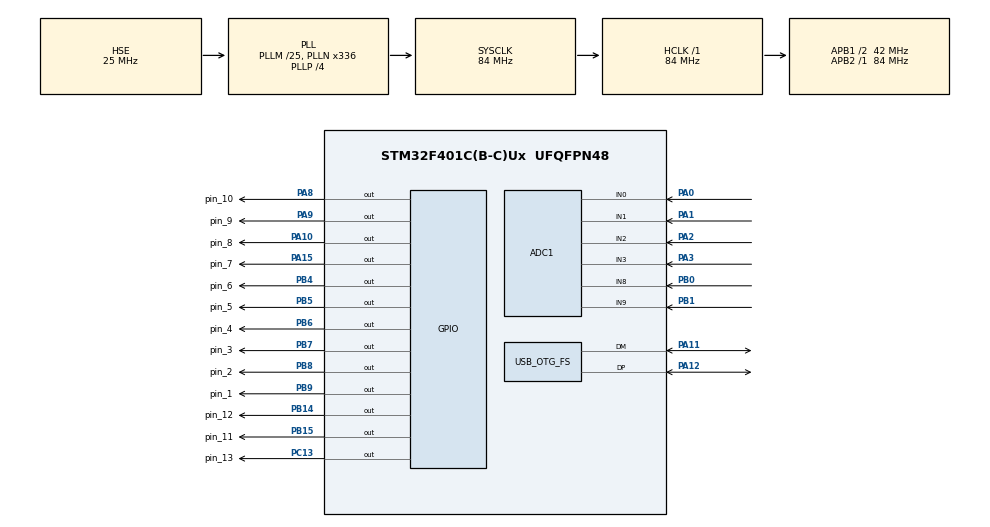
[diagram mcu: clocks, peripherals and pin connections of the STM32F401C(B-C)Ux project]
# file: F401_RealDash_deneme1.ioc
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ADC1.Channel-0\#ChannelRegularConversion=ADC_CHANNEL_0
ADC1.Channel-1\#ChannelRegularConversion=ADC_CHANNEL_1
ADC1.Channel-2\#ChannelRegularConversion=ADC_CHANNEL_2
ADC1.Channel-3\#ChannelRegularConversion=ADC_CHANNEL_3
ADC1.Channel-4\#ChannelRegularConversion=ADC_CHANNEL_8
ADC1.Channel-5\#ChannelRegularConversion=ADC_CHANNEL_9
ADC1.ContinuousConvMode=ENABLE
ADC1.NbrOfConversion=6
ADC1.NbrOfConversionFlag=1
ADC1.Rank-0\#ChannelRegularConversion=1
ADC1.Rank-1\#ChannelRegularConversion=2
ADC1.Rank-2\#ChannelRegularConversion=3
ADC1.Rank-3\#ChannelRegularConversion=4
ADC1.Rank-4\#ChannelRegularConversion=5
ADC1.Rank-5\#ChannelRegularConversion=6
ADC1.SamplingTime-0\#ChannelRegularConversion=ADC_SAMPLETIME_56CYCLES
ADC1.SamplingTime-1\#ChannelRegularConversion=ADC_SAMPLETIME_56CYCLES
ADC1.SamplingTime-2\#ChannelRegularConversion=ADC_SAMPLETIME_56CYCLES
ADC1.SamplingTime-3\#ChannelRegularConversion=ADC_SAMPLETIME_56CYCLES
ADC1.SamplingTime-4\#ChannelRegularConversion=ADC_SAMPLETIME_56CYCLES
ADC1.SamplingTime-5\#ChannelRegularConversion=ADC_SAMPLETIME_56CYCLES
ADC1.ScanConvMode=ENABLE
ADC1.master=1
Mcu.Family=STM32F4
Mcu.Name=STM32F401C(B-C)Ux
Mcu.Package=UFQFPN48
NVIC.OTG_FS_IRQn=true\:0\:0\:false\:false\:true\:false\:true
NVIC.PriorityGroup=NVIC_PRIORITYGROUP_4
PA0-WKUP.Signal=ADCx_IN0
PA1.Signal=ADCx_IN1
PA10.GPIO_Label=pin_8
PA10.GPIO_PuPd=GPIO_PULLDOWN
PA10.Signal=GPIO_Output
PA11.Mode=Device_Only
PA11.Signal=USB_OTG_FS_DM
PA12.Mode=Device_Only
PA12.Signal=USB_OTG_FS_DP
PA13.Mode=Serial_Wire
PA13.Signal=SYS_JTMS-SWDIO
PA14.Mode=Serial_Wire
PA14.Signal=SYS_JTCK-SWCLK
PA15.GPIO_Label=pin_7
PA15.Signal=GPIO_Output
PA2.Signal=ADCx_IN2
PA3.Signal=ADCx_IN3
PA8.GPIO_Label=pin_10
PA8.GPIO_PuPd=GPIO_PULLDOWN
PA8.Signal=GPIO_Output
PA9.GPIO_Label=pin_9
PA9.GPIO_PuPd=GPIO_PULLDOWN
PA9.Signal=GPIO_Output
PB0.Signal=ADCx_IN8
PB1.Signal=ADCx_IN9
PB14.GPIO_Label=pin_12
PB14.GPIO_PuPd=GPIO_PULLDOWN
PB14.Signal=GPIO_Output
PB15.GPIO_Label=pin_11
PB15.GPIO_PuPd=GPIO_PULLDOWN
PB15.Signal=GPIO_Output
PB4.GPIO_Label=pin_6
PB4.GPIO_PuPd=GPIO_PULLDOWN
PB4.Signal=GPIO_Output
PB5.GPIO_Label=pin_5
PB5.GPIO_PuPd=GPIO_PULLDOWN
PB5.Signal=GPIO_Output
PB6.GPIO_Label=pin_4
PB6.GPIO_PuPd=GPIO_PULLDOWN
PB6.Signal=GPIO_Output
PB7.GPIO_Label=pin_3
PB7.GPIO_PuPd=GPIO_PULLDOWN
PB7.Signal=GPIO_Output
PB8.GPIO_Label=pin_2
PB8.GPIO_PuPd=GPIO_PULLDOWN
PB8.Signal=GPIO_Output
PB9.GPIO_Label=pin_1
PB9.GPIO_PuPd=GPIO_PULLDOWN
PB9.Signal=GPIO_Output
PC13-ANTI_TAMP.GPIO_Label=pin_13
PC13-ANTI_TAMP.GPIO_PuPd=GPIO_PULLUP
PC13-ANTI_TAMP.PinState=GPIO_PIN_SET
PC13-ANTI_TAMP.Signal=GPIO_Output
PH0\ -\ OSC_IN.Mode=HSE-External-Oscillator
PH0\ -\ OSC_IN.Signal=RCC_OSC_IN
PH1\ -\ OSC_OUT.Mode=HSE-External-Oscillator
PH1\ -\ OSC_OUT.Signal=RCC_OSC_OUT
ProjectManager.HeapSize=0x200
ProjectManager.StackSize=0x400
ProjectManager.TargetToolchain=STM32CubeIDE
RCC.48MHZClocksFreq_Value=48000000
RCC.AHBFreq_Value=84000000
RCC.APB1CLKDivider=RCC_HCLK_DIV2
RCC.APB1Freq_Value=42000000
RCC.APB1TimFreq_Value=84000000
RCC.APB2Freq_Value=84000000
RCC.APB2TimFreq_Value=84000000
RCC.CortexFreq_Value=84000000
RCC.HCLKFreq_Value=84000000
RCC.HSE_VALUE=25000000
RCC.HSI_VALUE=16000000
RCC.LSE_VALUE=32768
RCC.PLLM=25
RCC.PLLN=336
RCC.PLLP=RCC_PLLP_DIV4
RCC.PLLQ=7
RCC.SYSCLKFreq_VALUE=84000000
RCC.SYSCLKSource=RCC_SYSCLKSOURCE_PLLCLK
RCC.VCOOutputFreq_Value=336000000
SH.ADCx_IN0.0=ADC1_IN0,IN0
SH.ADCx_IN1.0=ADC1_IN1,IN1
SH.ADCx_IN2.0=ADC1_IN2,IN2
SH.ADCx_IN3.0=ADC1_IN3,IN3
SH.ADCx_IN8.0=ADC1_IN8,IN8
SH.ADCx_IN9.0=ADC1_IN9,IN9
USB_DEVICE.CLASS_NAME_FS=CDC
USB_DEVICE.VirtualMode=Cdc
USB_DEVICE.VirtualModeFS=Cdc_FS
USB_OTG_FS.VirtualMode=Device_Only
VP_USB_DEVICE_VS_USB_DEVICE_CDC_FS.Mode=CDC_FS
board=custom

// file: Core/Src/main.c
/* USER CODE BEGIN Header */
/**
  ******************************************************************************
  * @file           : main.c
  * @brief          : Main program body
  ******************************************************************************
  * @attention
  *
  * <h2><center>&copy; Copyright (c) 2021 STMicroelectronics.
  * All rights reserved.</center></h2>
  *
  * This software component is licensed by ST under BSD 3-Clause license,
  * the "License"; You may not use this file except in compliance with the
  * License. You may obtain a copy of the License at:
  *                        opensource.org/licenses/BSD-3-Clause
  *
  ******************************************************************************
  */
/* USER CODE END Header */
#include "main.h"
#include "adc.h"
#include "usb_device.h"
#include "gpio.h"

/* USER CODE BEGIN Includes */
#include "usbd_cdc_if.h"
#include "string.h"
#include "math.h"
#include "stdio.h"
/* USER CODE END Includes */

/* USER CODE BEGIN PTD */
uint8_t buffer_usb[64];
uint8_t lenght;
/* USER CODE END PTD */

void SystemClock_Config(void);

/* USER CODE BEGIN 0 */
uint32_t digitalPins =0;
// analog pin values are stored in array of ints
uint32_t analogPins[7] = {0};

unsigned int rpm = 4;
unsigned int kpa = 992; // 99.2
unsigned int tps = 965; // 96.5
unsigned int clt = 80;  // 80 - 100
unsigned int textCounter = 0;

// incoming data
char incomingFrame[17] = { 0 };
unsigned int incomingFramePos = 0;

// if READWRITE_PINS is defined, the values are read from and written to Arduino
// digital and analog pins.
#define READWRITE_PINS

void ReadDigitalStatuses()
{
#if defined (READWRITE_PINS)
  // read status of digital pins (1-13)
  digitalPins = 0;

  int bitposition = 0;

    if (HAL_GPIO_ReadPin(pin_1_GPIO_Port,pin_1_Pin) == 1) digitalPins |= (1 << bitposition);
    bitposition++;
    if (HAL_GPIO_ReadPin(pin_2_GPIO_Port,pin_2_Pin) == 1) digitalPins |= (1 << bitposition);
    bitposition++;
    if (HAL_GPIO_ReadPin(pin_3_GPIO_Port,pin_3_Pin) == 1) digitalPins |= (1 << bitposition);
    bitposition++;
    if (HAL_GPIO_ReadPin(pin_4_GPIO_Port,pin_4_Pin) == 1) digitalPins |= (1 << bitposition);
    bitposition++;
    if (HAL_GPIO_ReadPin(pin_5_GPIO_Port,pin_5_Pin) == 1) digitalPins |= (1 << bitposition);
    bitposition++;
    if (HAL_GPIO_ReadPin(pin_6_GPIO_Port,pin_6_Pin) == 1) digitalPins |= (1 << bitposition);
    bitposition++;
    if (HAL_GPIO_ReadPin(pin_7_GPIO_Port,pin_7_Pin) == 1) digitalPins |= (1 << bitposition);
    bitposition++;
    if (HAL_GPIO_ReadPin(pin_8_GPIO_Port,pin_8_Pin) == 1) digitalPins |= (1 << bitposition);
    bitposition++;
    if (HAL_GPIO_ReadPin(pin_9_GPIO_Port,pin_9_Pin) == 1) digitalPins |= (1 << bitposition);
    bitposition++;
    if (HAL_GPIO_ReadPin(pin_10_GPIO_Port,pin_10_Pin) == 1) digitalPins |= (1 << bitposition);
    bitposition++;
    if (HAL_GPIO_ReadPin(pin_11_GPIO_Port,pin_11_Pin) == 1) digitalPins |= (1 << bitposition);
    bitposition++;
    if (HAL_GPIO_ReadPin(pin_12_GPIO_Port,pin_12_Pin) == 1) digitalPins |= (1 << bitposition);
    bitposition++;
 // if (HAL_GPIO_ReadPin(pin_13_GPIO_Port, pin_13_Pin) == 1) digitalPins |= (1 << bitposition); // no pull-up
    if (HAL_GPIO_ReadPin(pin_13_GPIO_Port, pin_13_Pin) == 0) digitalPins |= (1 << bitposition);  // pull-up
    bitposition++;

#endif
}

//

void ReadAnalogStatuses()
{
#if defined (READWRITE_PINS)
  // read analog pins (0-7)

   HAL_ADC_Start(&hadc1);
   HAL_ADC_PollForConversion(&hadc1, 50);
   analogPins[0] = HAL_ADC_GetValue(&hadc1);
   HAL_ADC_PollForConversion(&hadc1, 50);
   analogPins[1] = HAL_ADC_GetValue(&hadc1);
   HAL_ADC_PollForConversion(&hadc1, 50);
   analogPins[2] = HAL_ADC_GetValue(&hadc1);
   HAL_ADC_PollForConversion(&hadc1, 50);
   analogPins[3] = HAL_ADC_GetValue(&hadc1);
   HAL_ADC_PollForConversion(&hadc1, 50);
   analogPins[4] = HAL_ADC_GetValue(&hadc1);
   HAL_ADC_PollForConversion(&hadc1, 50);
   analogPins[5] = HAL_ADC_GetValue(&hadc1);
   HAL_ADC_Stop (&hadc1);

#endif
}

void SendCANFramesToSerial()
{

  // build & send CAN frames to RealDash.
  // a CAN frame payload is always 8 bytes containing data in a manner
  // described by the RealDash custom channel description XML file
  // all multibyte values are handled as little endian by default.
  // endianess of the values can be specified in XML file if it is required to use big endian values

 unsigned char frameData[8]={0};

  // build 1st CAN frame, RPM, MAP, CLT, TPS (just example data)
  memcpy(frameData, &rpm, 2);
  memcpy(frameData + 2, &kpa, 2);
  memcpy(frameData + 4, &clt, 2);
  memcpy(frameData + 6, &tps, 2);

  // write first CAN frame to serial
 SendCANFrameToSerial(3200, frameData);
 memset(frameData,'\0',8);

  // build 2nd CAN frame, Arduino digital pins and 2 analog values
  memcpy(frameData, &digitalPins, 2);
  memcpy(frameData + 2, &analogPins[0], 2);
  memcpy(frameData + 4, &analogPins[1], 2);
  memcpy(frameData + 6, &analogPins[2], 2);

  // write 2nd CAN frame to serial
  SendCANFrameToSerial(3201, frameData);
  memset(frameData,'\0',8);

  // build 3rd CAN frame, rest of Arduino analog values
  memcpy(frameData, &analogPins[3], 2);
  memcpy(frameData + 2, &analogPins[4], 2);
  memcpy(frameData + 4, &analogPins[5], 2);
  memcpy(frameData + 6, &analogPins[6], 2);

  // write 3rd CAN frame to serial
  SendCANFrameToSerial(3202, frameData);
  memset(frameData,'\0',8);

  // build 4th frame, this is a text extension frame

  // only send once at 1000 loops
  if (textCounter == 0)
  {
    SendTextExtensionFrameToSerial(3203, "Hello RealDash, this is STM32 sending some text data");
  }
  else if (textCounter == 2000)
  {
    SendTextExtensionFrameToSerial(3203, "Tomorrow's forecast: Lots of sun and 30 degrees centigate");
  }
  else if (textCounter == 4000)
  {
    SendTextExtensionFrameToSerial(3203, "Now Playing: Insert your favorite song info here");
  }
  else if (textCounter == 6000)
  {
    SendTextExtensionFrameToSerial(3203, "Message from STM32: All systems running at nominal efficiency");
  }
  memset(frameData,'\0',8);

}

void SendCANFrameToSerial(unsigned long canFrameId, unsigned char* frameData)
{
  // the 4 byte identifier at the beginning of each CAN frame
  // this is required for RealDash to 'catch-up' on ongoing stream of CAN frames
  unsigned char serialBlockTag[4] = { 0x44, 0x33, 0x22, 0x11 };

  while( CDC_Transmit_FS((uint8_t*)serialBlockTag,4));

  // the CAN frame id number (as 32bit little endian value)

  while(CDC_Transmit_FS((uint8_t*)&canFrameId,4));

  // CAN frame payload

 while( CDC_Transmit_FS((uint8_t*)frameData,8));

}

void SendTextExtensionFrameToSerial(unsigned long canFrameId,  char* text)
{
  if (text)
  {
    // the 4 byte identifier at the beginning of each CAN frame
    // this is required for RealDash to 'catch-up' on ongoing stream of CAN frames
    unsigned char textExtensionBlockTag[4] = { 0x55, 0x33, 0x22, 0x11 };
    while(CDC_Transmit_FS((uint8_t*)textExtensionBlockTag,4));

    // the CAN frame id number (as 32bit little endian value)
    while(CDC_Transmit_FS((uint8_t*)&canFrameId,4));

    // text payload
    while(CDC_Transmit_FS((uint8_t*)text,strlen(text)+15));

  }
}

void ReadIncomingSerialData()
{
  while (lenght > 0)
  {
    /*
      little bit of extra effort here, since especially Bluetooth connections
     may leave unsent/received data in internal buffer for a long time
     therefore, we cannot be sure that incoming byte stream really starts at
     where we expect it to start.

     read one byte from serial stream

	*/

	  memcpy(incomingFrame,buffer_usb,17);
	  int incomingFramePos=17;

    // check the first incoming bytes tag (0x44, 0x33, 0x22, 0x11)
    if (incomingFrame[0] != 0x44)
    {
      // first incoming byte is not 0x44,
      // the tag at the beginning of the frame does not match, this is an invalid frame
      // just zero the incomingFrame buffer and start expecting first byte again
      memset(incomingFrame, 0, 17);
      incomingFramePos = 0;
    }

    if (incomingFramePos >= 17)
    {
      // frame complete, process it
      ProcessIncomingFrame(incomingFrame);

      // zero the incomingFrame buffer and start expecting first byte again
      memset(incomingFrame, 0, 17);
      incomingFramePos = 0;
      memset(buffer_usb,'\0',64);
      lenght=0;
    }
  }
}

void ProcessIncomingFrame( char* frame)
{
  // first four bytes contain set value frame separator bytes, always 0x44,0x33,0x22,x11
  // check that first 4 bytes match the tag
  if (frame[0] != 0x44 ||
      frame[1] != 0x33 ||
      frame[2] != 0x22 ||
      frame[3] != 0x11)
  {
    // frame tag does not match, wait for another frame
    return;
  }

  // next four bytes contain set value CAN frame id in little endian form
  unsigned long canFrameId = 0;
  memcpy(&canFrameId, frame + 4, 4);

  // next 8 bytes are the frame data
  // ...

  // last byte is check byte calculated as sum of previous 13 bytes (ignore overflow)
  char checkByte = 0;
  for (int i=0; i<16; i++)
  {
    checkByte += frame[i];
  }

  if (frame[16] == checkByte)
  {
    // checksum match, this is a valid set value-frame:
    // the frame payload data is in frame + 8 bytes
    HandleIncomingSetValueFrame(canFrameId, frame + 8);
  }
}

void HandleIncomingSetValueFrame(unsigned long canFrameId,  char* frameData)
{
  if (canFrameId == 3201)
  {
    memcpy(&digitalPins, frameData, 2);
    memcpy(&analogPins[0], frameData + 2, 2);
    memcpy(&analogPins[1], frameData + 4, 2);
    memcpy(&analogPins[2], frameData + 6, 2);

#if defined (READWRITE_PINS)
    // write digital pins

    HAL_GPIO_WritePin(pin_1_GPIO_Port,pin_1_Pin,digitalPins & (1 << 0) ? 1 : 0);
    HAL_GPIO_WritePin(pin_2_GPIO_Port,pin_2_Pin,digitalPins & (1 << 1) ? 1 : 0);
    HAL_GPIO_WritePin(pin_3_GPIO_Port,pin_3_Pin,digitalPins & (1 << 2) ? 1 : 0);
    HAL_GPIO_WritePin(pin_4_GPIO_Port,pin_4_Pin,digitalPins & (1 << 3) ? 1 : 0);
    HAL_GPIO_WritePin(pin_5_GPIO_Port,pin_5_Pin,digitalPins & (1 << 4) ? 1 : 0);
    HAL_GPIO_WritePin(pin_6_GPIO_Port,pin_6_Pin,digitalPins & (1 << 5) ? 1 : 0);
    HAL_GPIO_WritePin(pin_7_GPIO_Port,pin_7_Pin,digitalPins & (1 << 6) ? 1 : 0);
    HAL_GPIO_WritePin(pin_8_GPIO_Port,pin_8_Pin,digitalPins & (1 << 7) ? 1 : 0);
    HAL_GPIO_WritePin(pin_9_GPIO_Port,pin_9_Pin,digitalPins & (1 << 8) ? 1 : 0);
    HAL_GPIO_WritePin(pin_10_GPIO_Port,pin_10_Pin,digitalPins & (1 << 9) ? 1 : 0);
    HAL_GPIO_WritePin(pin_11_GPIO_Port,pin_11_Pin,digitalPins & (1 << 10) ? 1 : 0);
    HAL_GPIO_WritePin(pin_12_GPIO_Port,pin_12_Pin,digitalPins & (1 << 11) ? 1 : 0);
 //   HAL_GPIO_WritePin(pin_13_GPIO_Port,pin_13_Pin,digitalPins & (1 << 12) ? 1 : 0);
    HAL_GPIO_WritePin(pin_13_GPIO_Port,pin_13_Pin,digitalPins & (1 << 12) ? 0 : 1); // pull-up led PC13 , also CubeMx GPIO config set to be Pull-Up

  /*  analogWrite(0, analogPins[0]);
    analogWrite(1, analogPins[1]);
    analogWrite(2, analogPins[2]);
    */
#endif
  }
  else if (canFrameId == 3202)
  {
    memcpy(&analogPins[3], frameData + 0, 2);
    memcpy(&analogPins[4], frameData + 2, 2);
    memcpy(&analogPins[5], frameData + 4, 2);
    memcpy(&analogPins[6], frameData + 6, 2);

#if defined (READWRITE_PINS)
   /* analogWrite(3, analogPins[3]);
    analogWrite(4, analogPins[4]);
    analogWrite(5, analogPins[5]);
    analogWrite(6, analogPins[6]);
    */
#endif
  }
}

/* USER CODE END 0 */

int main(void)
{

  /* MCU Configuration--------------------------------------------------------*/

  /* Reset of all peripherals, Initializes the Flash interface and the Systick. */
  HAL_Init();

  /* Configure the system clock */
  SystemClock_Config();

  /* Initialize all configured peripherals */
  MX_GPIO_Init();
  MX_USB_DEVICE_Init();
  MX_ADC1_Init();

  /* Infinite loop */
  while (1)
  {

    /* USER CODE BEGIN 3 */

	  ReadDigitalStatuses();
	  ReadAnalogStatuses();
	  SendCANFramesToSerial();
	 // ReadIncomingSerialData(); // move to usbd_cdc_if.c/CDC_Receive_FS

	  if (rpm++ > 5000)
	   {
	     rpm = 700;
	   }
	   if (kpa++ > 2500)
	   {
	     kpa = 10;
	   }
	   if (tps++ > 1000)
	   {
	     tps = 0;
	   }
	   if (clt++ > 230)
	   {
	     // all values in frame are handled as unsigned values. To use negative values,
	     // offset actual value and write corresponding conversion to XML file imported to RealDash
	     // From RealDash 1.7.6 its also possible to specify value as signed="true" in XML file.
	     clt = 0;
	   }
	   // simple counter for sending the text frame to avoid sending it too often.
	   if (textCounter++ > 8000)
	   {
	     textCounter = 0;
	   }

	   HAL_Delay(5);

  }
  /* USER CODE END 3 */
}

void SystemClock_Config(void)
{
  RCC_OscInitTypeDef RCC_OscInitStruct = {0};
  RCC_ClkInitTypeDef RCC_ClkInitStruct = {0};

  /** Configure the main internal regulator output voltage
  */
  __HAL_RCC_PWR_CLK_ENABLE();
  __HAL_PWR_VOLTAGESCALING_CONFIG(PWR_REGULATOR_VOLTAGE_SCALE2);
  /** Initializes the RCC Oscillators according to the specified parameters
  * in the RCC_OscInitTypeDef structure.
  */
  RCC_OscInitStruct.OscillatorType = RCC_OSCILLATORTYPE_HSE;
  RCC_OscInitStruct.HSEState = RCC_HSE_ON;
  RCC_OscInitStruct.PLL.PLLState = RCC_PLL_ON;
  RCC_OscInitStruct.PLL.PLLSource = RCC_PLLSOURCE_HSE;
  RCC_OscInitStruct.PLL.PLLM = 25;
  RCC_OscInitStruct.PLL.PLLN = 336;
  RCC_OscInitStruct.PLL.PLLP = RCC_PLLP_DIV4;
  RCC_OscInitStruct.PLL.PLLQ = 7;
  if (HAL_RCC_OscConfig(&RCC_OscInitStruct) != HAL_OK)
  {
    Error_Handler();
  }
  /** Initializes the CPU, AHB and APB buses clocks
  */
  RCC_ClkInitStruct.ClockType = RCC_CLOCKTYPE_HCLK|RCC_CLOCKTYPE_SYSCLK
                              |RCC_CLOCKTYPE_PCLK1|RCC_CLOCKTYPE_PCLK2;
  RCC_ClkInitStruct.SYSCLKSource = RCC_SYSCLKSOURCE_PLLCLK;
  RCC_ClkInitStruct.AHBCLKDivider = RCC_SYSCLK_DIV1;
  RCC_ClkInitStruct.APB1CLKDivider = RCC_HCLK_DIV2;
  RCC_ClkInitStruct.APB2CLKDivider = RCC_HCLK_DIV1;

  if (HAL_RCC_ClockConfig(&RCC_ClkInitStruct, FLASH_LATENCY_2) != HAL_OK)
  {
    Error_Handler();
  }
}

void Error_Handler(void)
{
  __disable_irq();
  while (1)
  {
  }
}

/************************ (C) COPYRIGHT STMicroelectronics *****END OF FILE****/
